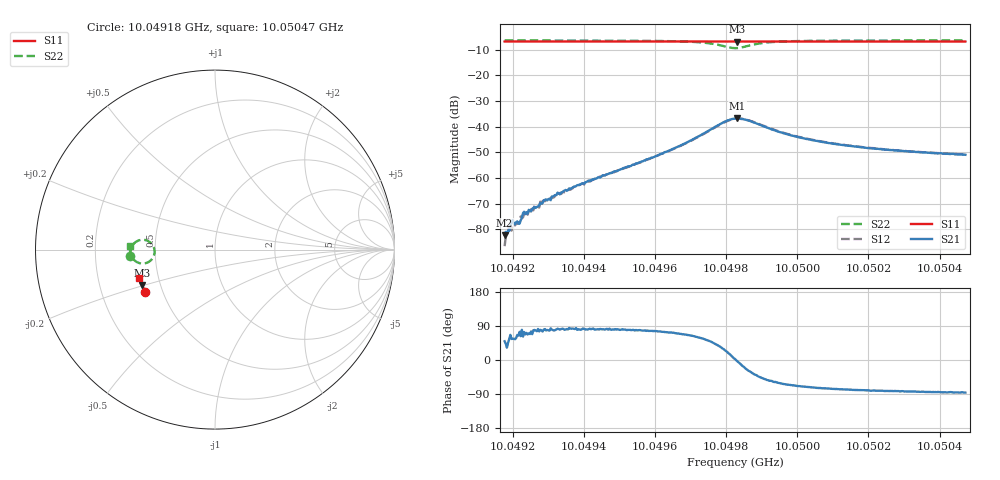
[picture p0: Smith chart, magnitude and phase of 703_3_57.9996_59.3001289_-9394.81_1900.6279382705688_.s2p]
#  HZ  S  RI  R  50.00
! Rohde & Schwarz Vector Network Analyzer
! Rohde-Schwarz,ZNB20-2Port,1311601062101988,3.16
! Created: UTC 3/21/2024, 1:21:52 AM
! freq[Hz]  re:S11  im:S11  re:S21  im:S21  re:S12  im:S12  re:S22  im:S22
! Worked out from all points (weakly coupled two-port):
!   401 points, 10.04918 GHz to 10.05047 GHz, reference 50 ohm
!   highest |S21| = -36.82 dB at 10.04983 GHz (marker M1); lowest = -82.2 dB at 10.04918 GHz (marker M2)
!   lowest |S11| = -6.9 dB at 10.04983 GHz (marker M3), VSWR 2.65, Z = 19.7 - j9.88 ohm
!   |S11| at or under -10 dB: nowhere
!   |S22| runs from -9.5 to -6.5 dB; largest |S21 - S12| = 0.0015
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1.0049177e10  -0.3874 -0.2375  5.05e-05 5.9e-05  2.98e-05 3.61e-05  -0.4735 -0.0378
1.0049187e10  -0.3878 -0.237  6.64e-05 6.75e-05  6.04e-05 6.72e-05  -0.4736 -0.0371
1.0049203e10  -0.3884 -0.236  6.94e-05 0.000104  5.59e-05 0.000115  -0.4735 -0.0355
1.004921e10  -0.3885 -0.2356  7.28e-05 0.000116  5.77e-05 0.000114  -0.4737 -0.035
1.0049219e10  -0.3889 -0.2351  3.48e-05 0.000123  4.37e-05 0.000153  -0.4735 -0.0341
1.0049232e10  -0.3894 -0.2344  6.1e-05 0.00021  4.69e-05 0.000196  -0.4735 -0.033
1.0049268e10  -0.3904 -0.2324  6.57e-05 0.000263  4.7e-05 0.000287  -0.4735 -0.0297
1.0049284e10  -0.3911 -0.2314  8.28e-05 0.000314  5.57e-05 0.00035  -0.4735 -0.0282
1.0049323e10  -0.3923 -0.229  7.52e-05 0.000456  4.9e-05 0.000451  -0.4733 -0.0246
1.0049394e10  -0.3944 -0.2248  0.00012 0.000764  5.44e-05 0.000766  -0.4727 -0.017
1.0049611e10  -0.4009 -0.212  0.000705 0.00271  0.000536 0.00274  -0.4643 0.0151
1.0049686e10  -0.4031 -0.2073  0.00184 0.00435  0.00155 0.00442  -0.4512 0.0342
1.004977e10  -0.4049 -0.2021  0.00734 0.00667  0.00663 0.00705  -0.3968 0.0547
1.0049799e10  -0.4051 -0.2005  0.0116 0.00518  0.0107 0.00602  -0.3586 0.038
1.0049825e10  -0.4056 -0.1993  0.0143 0.000647  0.0142 0.00202  -0.3368 -0.00606
1.0049831e10  -0.4056 -0.1991  0.0144 -0.000866  0.0143 0.000544  -0.337 -0.0195
1.0049857e10  -0.4066 -0.1981  0.0122 -0.00556  0.0129 -0.00449  -0.3608 -0.0626
1.0049886e10  -0.4077 -0.1966  0.00863 -0.00742  0.00946 -0.00691  -0.4001 -0.0775
1.0049954e10  -0.41 -0.1924  0.00362 -0.00677  0.00418 -0.00662  -0.4489 -0.0598
1.0050042e10  -0.4125 -0.1871  0.00166 -0.00518  0.00201 -0.00514  -0.4661 -0.0357
1.0050259e10  -0.4179 -0.1739  0.000491 -0.00347  0.000694 -0.00348  -0.4741 -0.00268
1.0050472e10  -0.4229 -0.1608  0.000196 -0.00281  0.000344 -0.00281  -0.4747 0.018
